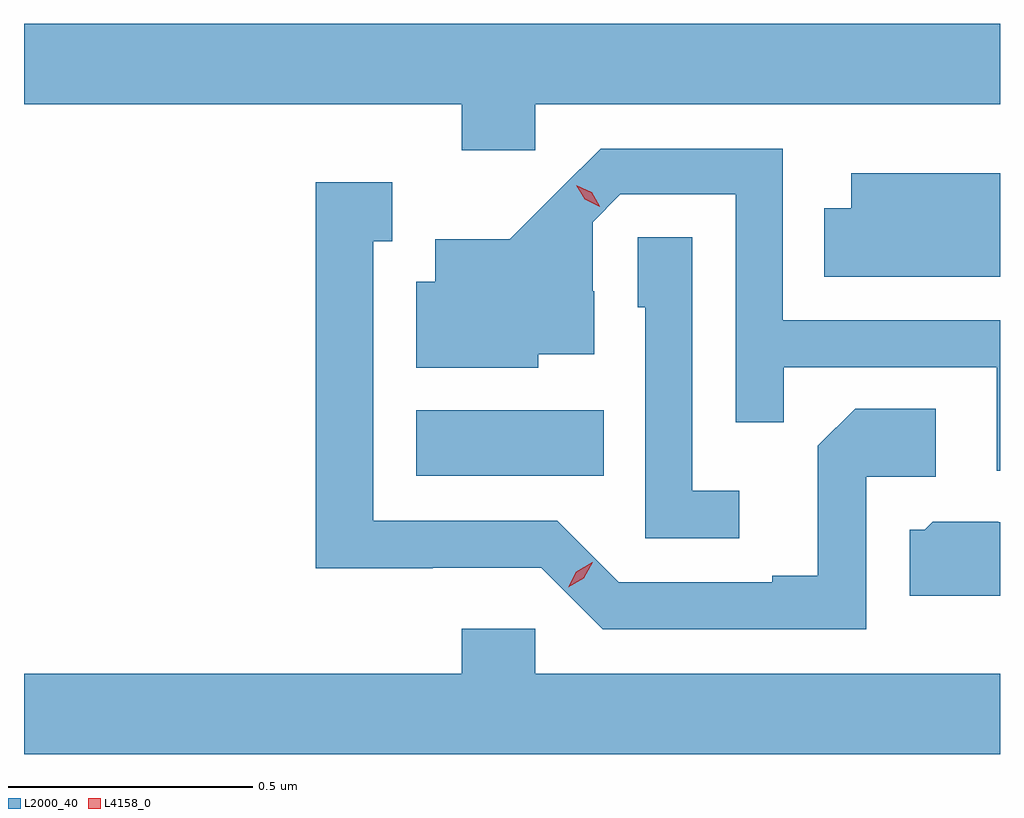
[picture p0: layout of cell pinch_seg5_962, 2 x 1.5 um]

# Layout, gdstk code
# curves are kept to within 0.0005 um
import gdstk
lib = gdstk.Library(unit=1e-6, precision=1e-09)
def R(c, l, rs):  # rectangles x0, y0, x1, y1
    for r in rs: c.add(gdstk.rectangle(r[:2], r[2:], *l))
def P(c, l, *ps):  # polygons
    for p in ps: c.add(gdstk.Polygon(p, *l))
L2000_40 = (2000, 40)
L4158_0 = (4158, 0)

pinch_seg5_962 = lib.new_cell('pinch_seg5_962')
R(pinch_seg5_962, L2000_40, [(684.38,897.29,684.764,897.424)])
P(pinch_seg5_962, L2000_40, [(684.624,898.052),(685.576,898.052),(685.576,898.216),(683.576,898.216),(683.576,898.052),(684.473,898.052),(684.473,897.957),(684.624,897.957)],
  [(685.576,897.609),(685.131,897.609),(685.131,897.96),(684.758,897.96),(684.571,897.775),(684.419,897.775),(684.419,897.688),(684.38,897.688),(684.38,897.512),(684.63,897.512),(684.63,897.539),(684.745,897.539),(684.745,897.668),(684.741,897.668),(684.741,897.81),(684.798,897.867),(685.035,897.867),(685.035,897.4),(685.133,897.4),(685.133,897.513),(685.569,897.513),(685.569,897.3),(685.576,897.3)],
  [(685.576,897.91),(685.271,897.91),(685.271,897.838),(685.216,897.838),(685.216,897.698),(685.576,897.698)],
  [(685.302,897.288),(685.444,897.288),(685.444,897.428),(685.279,897.428),(685.203,897.352),(685.203,897.085),(685.109,897.085),(685.109,897.072),(684.795,897.072),(684.669,897.198),(684.292,897.198),(684.292,897.771),(684.331,897.771),(684.331,897.892),(684.174,897.892),(684.174,897.101),(684.414,897.101),(684.414,897.102),(684.636,897.102),(684.762,896.976),(685.302,896.976)],
  [(685.042,897.259),(684.945,897.259),(684.945,897.779),(684.834,897.779),(684.834,897.636),(684.849,897.636),(684.849,897.162),(685.042,897.162)],
  [(685.576,897.195),(685.572,897.195),(685.572,897.196),(685.438,897.196),(685.422,897.18),(685.391,897.18),(685.391,897.044),(685.576,897.044)],
  [(685.576,896.884),(684.624,896.884),(684.624,896.977),(684.473,896.977),(684.473,896.884),(683.576,896.884),(683.576,896.72),(685.576,896.72)])
P(pinch_seg5_962, L4158_0, [(684.756,897.841),(684.725,897.857),(684.708,897.886),(684.708,897.886),(684.708,897.886),(684.739,897.871),(684.756,897.842),(684.756,897.841)],
  [(684.691,897.062),(684.691,897.062),(684.708,897.094),(684.74,897.113),(684.741,897.113),(684.741,897.113),(684.723,897.08),(684.691,897.062)])

lib.write_gds('pinch_seg5_962.gds')
